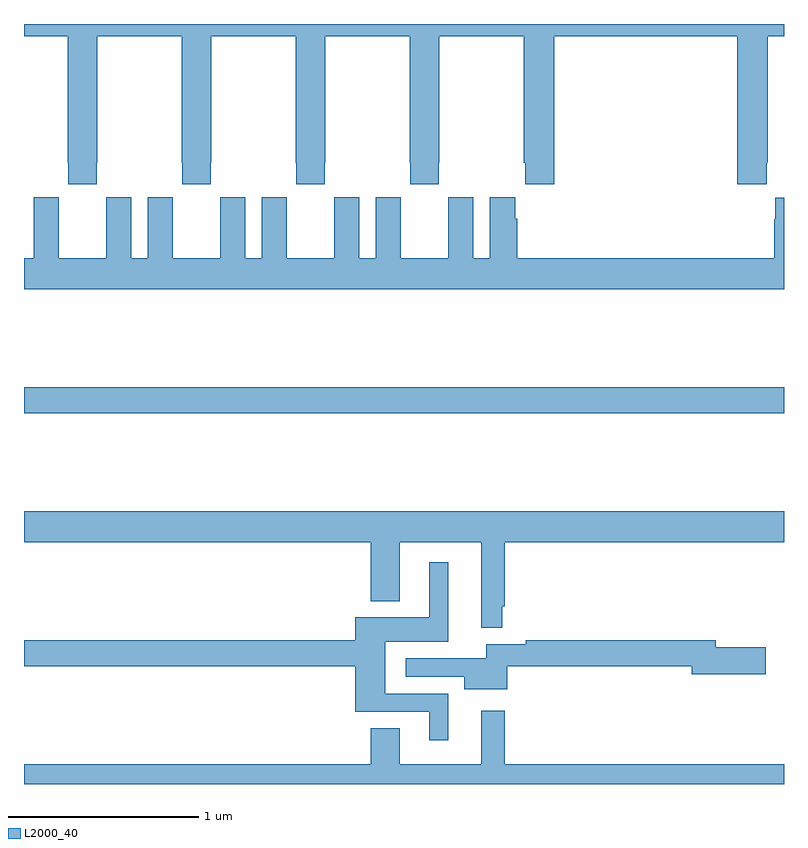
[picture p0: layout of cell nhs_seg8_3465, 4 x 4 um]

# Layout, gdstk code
import gdstk
lib = gdstk.Library(unit=1e-6, precision=1e-09)
def R(c, l, rs):  # rectangles x0, y0, x1, y1
    for r in rs: c.add(gdstk.rectangle(r[:2], r[2:], *l))
def P(c, l, *ps):  # polygons
    for p in ps: c.add(gdstk.Polygon(p, *l))
L2000_40 = (2000, 40)

nhs_seg8_3465 = lib.new_cell('nhs_seg8_3465')
R(nhs_seg8_3465, L2000_40, [(325,1111.852,329,1111.988)])
P(nhs_seg8_3465, L2000_40, [(325.383,1113.169),(325.386,1113.169),(325.386,1113.836),(325.831,1113.836),(325.831,1113.169),(325.833,1113.169),(325.833,1113.057),(325.983,1113.057),(325.983,1113.169),(325.986,1113.169),(325.986,1113.836),(326.431,1113.836),(326.431,1113.169),(326.433,1113.169),(326.433,1113.057),(326.583,1113.057),(326.583,1113.169),(326.586,1113.169),(326.586,1113.836),(327.031,1113.836),(327.031,1113.169),(327.033,1113.169),(327.033,1113.057),(327.183,1113.057),(327.183,1113.169),(327.186,1113.169),(327.186,1113.836),(327.631,1113.836),(327.631,1113.169),(327.637,1113.169),(327.637,1113.057),(327.791,1113.057),(327.791,1113.836),(328.754,1113.836),(328.754,1113.057),(328.909,1113.057),(328.909,1113.169),(328.914,1113.169),(328.914,1113.836),(329,1113.836),(329,1113.9),(325,1113.9),(325,1113.836),(325.231,1113.836),(325.231,1113.169),(325.233,1113.169),(325.233,1113.057),(325.383,1113.057)],
  [(329,1112.986),(328.955,1112.986),(328.955,1112.873),(328.949,1112.873),(328.949,1112.668),(327.596,1112.668),(327.596,1112.876),(327.586,1112.876),(327.586,1112.989),(327.452,1112.989),(327.452,1112.668),(327.364,1112.668),(327.364,1112.989),(327.234,1112.989),(327.234,1112.876),(327.233,1112.876),(327.233,1112.668),(326.983,1112.668),(326.983,1112.876),(326.982,1112.876),(326.982,1112.989),(326.852,1112.989),(326.852,1112.668),(326.764,1112.668),(326.764,1112.989),(326.634,1112.989),(326.634,1112.876),(326.633,1112.876),(326.633,1112.668),(326.383,1112.668),(326.383,1112.876),(326.382,1112.876),(326.382,1112.989),(326.252,1112.989),(326.252,1112.668),(326.164,1112.668),(326.164,1112.989),(326.034,1112.989),(326.034,1112.876),(326.033,1112.876),(326.033,1112.668),(325.783,1112.668),(325.783,1112.876),(325.782,1112.876),(325.782,1112.989),(325.652,1112.989),(325.652,1112.668),(325.564,1112.668),(325.564,1112.989),(325.434,1112.989),(325.434,1112.876),(325.433,1112.876),(325.433,1112.668),(325.183,1112.668),(325.183,1112.876),(325.182,1112.876),(325.182,1112.989),(325.052,1112.989),(325.052,1112.668),(325,1112.668),(325,1112.504),(329,1112.504)],
  [(327.518,1110.835),(327.529,1110.835),(327.529,1111.172),(329,1111.172),(329,1111.336),(325,1111.336),(325,1111.172),(326.825,1111.172),(326.825,1110.863),(326.977,1110.863),(326.977,1111.172),(327.407,1111.172),(327.407,1110.723),(327.518,1110.723)],
  [(327.232,1110.375),(326.902,1110.375),(326.902,1110.65),(327.232,1110.65),(327.232,1111.066),(327.134,1111.066),(327.134,1110.778),(326.744,1110.778),(326.744,1110.656),(325,1110.656),(325,1110.52),(326.744,1110.52),(326.744,1110.279),(327.134,1110.279),(327.134,1110.129),(327.232,1110.129)],
  [(327.544,1110.52),(328.514,1110.52),(328.514,1110.478),(328.903,1110.478),(328.903,1110.62),(328.642,1110.62),(328.642,1110.656),(327.64,1110.656),(327.64,1110.636),(327.434,1110.636),(327.434,1110.561),(327.009,1110.561),(327.009,1110.465),(327.317,1110.465),(327.317,1110.398),(327.544,1110.398)],
  [(329,1110.004),(327.529,1110.004),(327.529,1110.286),(327.407,1110.286),(327.407,1110.004),(326.977,1110.004),(326.977,1110.194),(326.825,1110.194),(326.825,1110.004),(325,1110.004),(325,1109.9),(329,1109.9)])

lib.write_gds('nhs_seg8_3465.gds')
